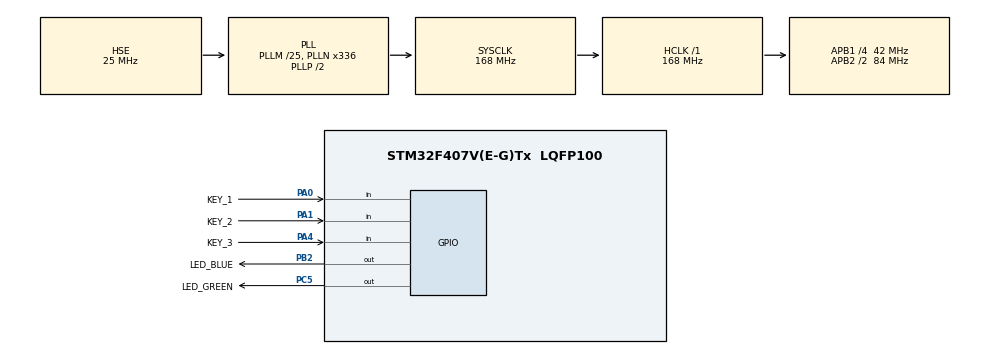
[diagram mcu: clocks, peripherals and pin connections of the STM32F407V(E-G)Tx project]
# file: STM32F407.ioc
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Mcu.Family=STM32F4
Mcu.Name=STM32F407V(E-G)Tx
Mcu.Package=LQFP100
NVIC.PriorityGroup=NVIC_PRIORITYGROUP_4
PA0-WKUP.GPIO_Label=KEY_1
PA0-WKUP.GPIO_PuPd=GPIO_PULLDOWN
PA0-WKUP.Signal=GPIO_Input
PA1.GPIO_Label=KEY_2
PA1.GPIO_PuPd=GPIO_PULLUP
PA1.Signal=GPIO_Input
PA13.Mode=Serial_Wire
PA13.Signal=SYS_JTMS-SWDIO
PA14.Mode=Serial_Wire
PA14.Signal=SYS_JTCK-SWCLK
PA4.GPIO_Label=KEY_3
PA4.GPIO_PuPd=GPIO_PULLUP
PA4.Signal=GPIO_Input
PB2.GPIO_Label=LED_BLUE
PB2.Signal=GPIO_Output
PC5.GPIO_Label=LED_GREEN
PC5.Signal=GPIO_Output
PH0-OSC_IN.Mode=HSE-External-Oscillator
PH0-OSC_IN.Signal=RCC_OSC_IN
PH1-OSC_OUT.Mode=HSE-External-Oscillator
PH1-OSC_OUT.Signal=RCC_OSC_OUT
ProjectManager.HeapSize=0x200
ProjectManager.StackSize=0x1000
ProjectManager.TargetToolchain=MDK-ARM V5.32
RCC.48MHZClocksFreq_Value=84000000
RCC.AHBFreq_Value=168000000
RCC.APB1CLKDivider=RCC_HCLK_DIV4
RCC.APB1Freq_Value=42000000
RCC.APB1TimFreq_Value=84000000
RCC.APB2CLKDivider=RCC_HCLK_DIV2
RCC.APB2Freq_Value=84000000
RCC.APB2TimFreq_Value=168000000
RCC.CortexFreq_Value=168000000
RCC.HCLKFreq_Value=168000000
RCC.HSE_VALUE=25000000
RCC.HSI_VALUE=16000000
RCC.LSE_VALUE=32768
RCC.PLLM=25
RCC.PLLN=336
RCC.PLLSourceVirtual=RCC_PLLSOURCE_HSE
RCC.SYSCLKFreq_VALUE=168000000
RCC.SYSCLKSource=RCC_SYSCLKSOURCE_PLLCLK
RCC.VCOOutputFreq_Value=336000000
board=custom

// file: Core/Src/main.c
/* USER CODE BEGIN Header */
/***********************************************************************************************************************************
 ** 【代码编写】  魔女开发板团队
 ** 【淘    宝】  魔女开发板       https://demoboard.taobao.com
 ***********************************************************************************************************************************
 ** 【实验名称】  STM32F407 GPIO 输入 —— 按键控制 LED 翻转
 **
 ** 【适用平台】  STM32F407 + keil5 + HAL库
 **
 ** 【 CubeMX 】  1- 开启外部高速晶振 HSE，系统时钟配置为 168MHz；
 **               2- PB2、PC5 配置为 GPIO 推挽输出（蓝灯、绿灯）；
 **               3- PA0、PA1、PA4 配置为 GPIO 输入模式（KEY1、KEY2、KEY3）；
 **               4- PA0 下拉输入，PA1/PA4 上拉输入；
 **
 ** 【功能说明】  本工程实现 GPIO 输入检测 + 输出控制：
 **               1- 按键 KEY1（PA0）、KEY2（PA1）、KEY3（PA4）控制蓝灯翻转；
 **               2- 绿灯 500ms 无阻塞自动闪烁；
 **               3- 按键采用电平检测方式，松手生效，无阻塞运行；
 **               4- 适合新手学习：GPIO 输入、按键检测、无阻塞定时；
 **
 ** 【代码使用】  1- 上电：蓝灯亮、绿灯灭；
 **               2- 按任意键（KEY1/2/3）→ 翻转蓝灯亮灭；
 **               3- 绿灯 500ms 闪烁一次，指示系统运行；
 **
 ** 【划 重 点】  1- KEY1(PA0)：下拉输入 → 按下=高电平；
 **               2- KEY2/3(PA1/PA4)：上拉输入 → 按下=低电平；
 **               3- LED 低电平点亮，高电平熄灭；
 **               4- 无阻塞闪烁：使用 HAL_GetTick()，不卡住主循环；
 **               5- 按键松手检测：while 等待引脚恢复空闲电平；
 **
 *******************************************************************************/
/* USER CODE END Header */
#include "main.h"
#include "gpio.h"

void SystemClock_Config(void);

int main(void)
{
    /* USER CODE BEGIN 1 */

    /* 说明：
     * 1. 不要删除CubeMX生成的注释行（形如 USER CODE BEGIN/END），这些注释用于代码重新生成时的定位
     * 2. 所有用户自定义代码必须写在对应的BEGIN与END注释行之间，否则重新生成时会被覆盖
     * 3. 主要初始化函数说明：
     *    - HAL_Init()            初始化HAL库，配置中断优先级、系统时基等
     *    - SystemClock_Config()  配置系统时钟
     *    - MX_GPIO_Init()        初始化GPIO引脚（仅包含推挽输出、中断触发等配置）
     *    - 外设功能引脚（如UART、SPI等）的初始化在各自的功能文件中
     */

    /* USER CODE END 1 */

    /* MCU Configuration--------------------------------------------------------*/

    /* Reset of all peripherals, Initializes the Flash interface and the Systick. */
    HAL_Init();

    /* Configure the system clock */
    SystemClock_Config();

    /* Initialize all configured peripherals */
    MX_GPIO_Init();
    /* USER CODE BEGIN 2 */

    HAL_GPIO_WritePin(LED_BLUE_GPIO_Port, LED_BLUE_Pin, GPIO_PIN_RESET);    // 蓝灯，置低电平，点亮
    HAL_GPIO_WritePin(LED_GREEN_GPIO_Port, LED_GREEN_Pin, GPIO_PIN_SET);    // 绿灯，置高电平，熄灭

    /* USER CODE END 2 */

    /* Infinite loop */
    while (1)
    {

        /* USER CODE BEGIN 3 */
        /* 所有用户代码，必须写在配对的BEGIN与END之间 */

        /** 1ms 延时 **/
        HAL_Delay(1 - 1);                                                  // 延时函数，参数：ms; 注意：CubeMX生成的HAL_Delay(), 函数内部为避免无效操作，会对传入参数+1，因此，如果只需要几ms延时建议传入参数时-1，如果需要大几百ms的非精准延时，那参数不-1也影响不大

        /** 判断 KEY_1 是否按下 **/
        if (1 == HAL_GPIO_ReadPin(GPIOA, GPIO_PIN_0))                      // 判断KEY_1是否被按下：引脚PA0、闲时下拉、按下时高电平
        {
            while (1 == HAL_GPIO_ReadPin(KEY_1_GPIO_Port, KEY_1_Pin));     // 等待按键释放；也可以使用常规的延时判断，这里这种写法是为了方便展示
            HAL_GPIO_TogglePin(GPIOB, GPIO_PIN_2);                         // 反转蓝色LED灯电平状态(PB2)
        }
        /** 判断 KEY_2 是否按下 **/
        if (0 == HAL_GPIO_ReadPin(GPIOA, GPIO_PIN_1))                      // 判断KEY_2是否被按下：引脚PA1、闲时上拉、按下时低电平
        {
            while (0 == HAL_GPIO_ReadPin(KEY_2_GPIO_Port, KEY_2_Pin));     // 等待按键释放；也可以使用常规的延时判断，这里这种写法是为了方便展示
            HAL_GPIO_TogglePin(GPIOB, GPIO_PIN_2);                         // 反转蓝色LED灯电平状态(PB2)
        }
        /** 判断 KEY_3 是否按下 **/
        if (0 == HAL_GPIO_ReadPin(GPIOA, GPIO_PIN_4))                      // 判断KEY_3是否被按下：引脚PA4、闲时上拉、按下时低电平
        {
            while (0 == HAL_GPIO_ReadPin(KEY_3_GPIO_Port, KEY_3_Pin));     // 等待按键释放；也可以使用常规的延时判断，这里这种写法是为了方便展示
            HAL_GPIO_TogglePin(GPIOB, GPIO_PIN_2);                         // 反转蓝色LED灯电平状态(PB2)
        }

        /** 每500ms执行一次的任务 **/
        static uint32_t lastTime_500ms = 0;                                // 定义静态变量，用于记录上次执行这个任务的时间点(单位：毫秒)
        if (HAL_GetTick() - lastTime_500ms >= 500)                         // 检查当前时间距离上次执行是否已经过了500毫秒; HAL_GetTick()是获取启动后经过的毫秒数
        {
            HAL_GPIO_TogglePin(LED_GREEN_GPIO_Port, LED_GREEN_Pin);        // 控制绿色LED引脚电平翻转(PC5); 规律地闪烁LED，方便外部观察系统是否正常运行
            lastTime_500ms =   HAL_GetTick();                              // 记录当前时间，作为新的基准点，为下一次判断做准备
        }

    } // end While

    /* USER CODE END 3 */
}

void SystemClock_Config(void)
{
    RCC_OscInitTypeDef RCC_OscInitStruct = {0};
    RCC_ClkInitTypeDef RCC_ClkInitStruct = {0};

    /** Configure the main internal regulator output voltage
    */
    __HAL_RCC_PWR_CLK_ENABLE();
    __HAL_PWR_VOLTAGESCALING_CONFIG(PWR_REGULATOR_VOLTAGE_SCALE1);

    /** Initializes the RCC Oscillators according to the specified parameters
    * in the RCC_OscInitTypeDef structure.
    */
    RCC_OscInitStruct.OscillatorType = RCC_OSCILLATORTYPE_HSE;
    RCC_OscInitStruct.HSEState = RCC_HSE_ON;
    RCC_OscInitStruct.PLL.PLLState = RCC_PLL_ON;
    RCC_OscInitStruct.PLL.PLLSource = RCC_PLLSOURCE_HSE;
    RCC_OscInitStruct.PLL.PLLM = 25;
    RCC_OscInitStruct.PLL.PLLN = 336;
    RCC_OscInitStruct.PLL.PLLP = RCC_PLLP_DIV2;
    RCC_OscInitStruct.PLL.PLLQ = 4;
    if (HAL_RCC_OscConfig(&RCC_OscInitStruct) != HAL_OK)
    {
        Error_Handler();
    }

    /** Initializes the CPU, AHB and APB buses clocks
    */
    RCC_ClkInitStruct.ClockType = RCC_CLOCKTYPE_HCLK | RCC_CLOCKTYPE_SYSCLK
                                  | RCC_CLOCKTYPE_PCLK1 | RCC_CLOCKTYPE_PCLK2;
    RCC_ClkInitStruct.SYSCLKSource = RCC_SYSCLKSOURCE_PLLCLK;
    RCC_ClkInitStruct.AHBCLKDivider = RCC_SYSCLK_DIV1;
    RCC_ClkInitStruct.APB1CLKDivider = RCC_HCLK_DIV4;
    RCC_ClkInitStruct.APB2CLKDivider = RCC_HCLK_DIV2;

    if (HAL_RCC_ClockConfig(&RCC_ClkInitStruct, FLASH_LATENCY_5) != HAL_OK)
    {
        Error_Handler();
    }
}

void Error_Handler(void)
{
    __disable_irq();
    while (1)
    {
    }
}
